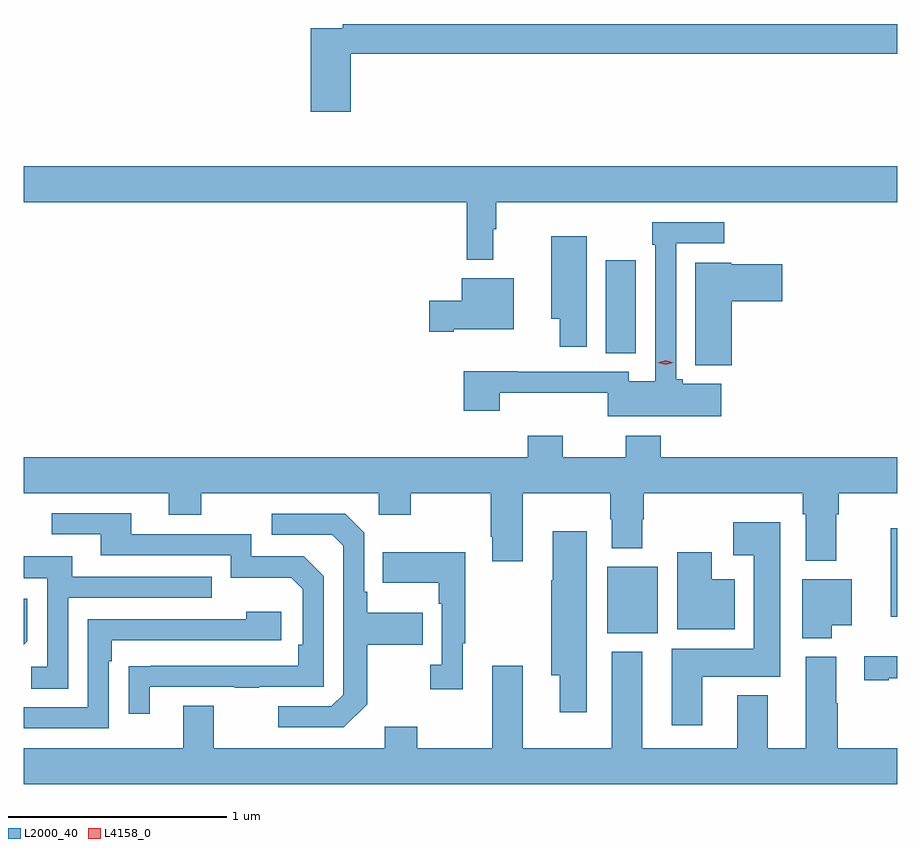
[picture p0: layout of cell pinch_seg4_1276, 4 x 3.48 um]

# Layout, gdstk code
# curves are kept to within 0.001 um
import gdstk
lib = gdstk.Library(unit=1e-6, precision=1e-09)
def R(c, l, rs):  # rectangles x0, y0, x1, y1
    for r in rs: c.add(gdstk.rectangle(r[:2], r[2:], *l))
def P(c, l, *ps):  # polygons
    for p in ps: c.add(gdstk.Polygon(p, *l))
L2000_40 = (2000, 40)
L4158_0 = (4158, 0)

pinch_seg4_1276 = lib.new_cell('pinch_seg4_1276')
R(pinch_seg4_1276, L2000_40, [(282.572,760.214,282.805,760.519), (283.871,760.29,283.901,760.696), (282.566,761.497,282.703,761.923)])
P(pinch_seg4_1276, L2000_40, [(281.399,762.868),(283.901,762.868),(283.901,763.004),(281.362,763.004),(281.362,762.984),(281.216,762.984),(281.216,762.603),(281.399,762.603)],
  [(279.901,762.188),(281.929,762.188),(281.929,761.925),(282.05,761.925),(282.05,762.065),(282.065,762.065),(282.065,762.188),(283.901,762.188),(283.901,762.352),(279.901,762.352)],
  [(283.096,761.356),(282.918,761.356),(282.918,761.378),(282.888,761.378),(282.888,762),(283.108,762),(283.108,762.096),(282.78,762.096),(282.78,761.993),(282.792,761.993),(282.792,761.368),(282.672,761.368),(282.672,761.412),(282.163,761.412),(282.163,761.414),(281.915,761.414),(281.915,761.232),(282.08,761.232),(282.08,761.315),(282.576,761.315),(282.576,761.207),(283.096,761.207)],
  [(282.478,762.031),(282.317,762.031),(282.317,761.654),(282.356,761.654),(282.356,761.526),(282.478,761.526)],
  [(283.144,761.735),(283.375,761.735),(283.375,761.905),(283.14,761.905),(283.14,761.911),(282.977,761.911),(282.977,761.441),(283.144,761.441)],
  [(281.869,761.606),(282.145,761.606),(282.145,761.839),(281.906,761.839),(281.906,761.736),(281.757,761.736),(281.757,761.594),(281.869,761.594)],
  [(282.187,760.856),(282.586,760.856),(282.586,760.736),(282.593,760.736),(282.593,760.604),(282.733,760.604),(282.733,760.736),(282.741,760.736),(282.741,760.856),(283.469,760.856),(283.469,760.76),(283.481,760.76),(283.481,760.547),(283.621,760.547),(283.621,760.76),(283.634,760.76),(283.634,760.856),(283.901,760.856),(283.901,761.02),(282.818,761.02),(282.818,761.119),(282.658,761.119),(282.658,761.02),(282.369,761.02),(282.369,761.119),(282.209,761.119),(282.209,761.02),(279.901,761.02),(279.901,760.856),(280.565,760.856),(280.565,760.757),(280.713,760.757),(280.713,760.856),(281.526,760.856),(281.526,760.757),(281.673,760.757),(281.673,760.856),(282.04,760.856),(282.04,760.657),(282.047,760.657),(282.047,760.545),(282.187,760.545)],
  [(280.477,759.969),(280.867,759.969),(280.867,759.964),(280.979,759.964),(280.979,759.969),(281.274,759.969),(281.274,760.476),(281.184,760.566),(280.944,760.566),(280.944,760.668),(280.393,760.668),(280.393,760.764),(280.029,760.764),(280.029,760.668),(280.253,760.668),(280.253,760.572),(280.848,760.572),(280.848,760.469),(281.125,760.469),(281.178,760.416),(281.178,760.162),(281.158,760.162),(281.158,760.065),(280.381,760.064),(280.381,759.846),(280.477,759.846)],
  [(281.473,759.889),(281.473,760.162),(281.729,760.162),(281.729,760.309),(281.473,760.309),(281.473,760.405),(281.46,760.405),(281.46,760.674),(281.373,760.761),(281.037,760.761),(281.037,760.665),(281.313,760.665),(281.364,760.614),(281.364,759.933),(281.31,759.879),(281.067,759.879),(281.067,759.783),(281.367,759.783)],
  [(283.009,760.016),(283.366,760.016),(283.366,760.723),(283.149,760.723),(283.149,760.571),(283.244,760.571),(283.244,760.144),(282.869,760.144),(282.869,759.792),(283.009,759.792)],
  [(282.478,760.681),(282.323,760.681),(282.323,760.457),(282.316,760.457),(282.316,760.022),(282.356,760.022),(282.356,759.852),(282.478,759.852)],
  [(283.156,760.462),(283.051,760.462),(283.051,760.585),(282.893,760.585),(282.893,760.232),(283.156,760.232)],
  [(281.911,760.169),(281.923,760.169),(281.923,760.585),(281.545,760.585),(281.545,760.445),(281.802,760.445),(281.802,760.349),(281.814,760.349),(281.814,760.07),(281.763,760.07),(281.763,759.957),(281.911,759.957)],
  [(280.104,760.377),(280.763,760.377),(280.763,760.473),(280.123,760.473),(280.123,760.567),(279.901,760.567),(279.901,760.467),(280.008,760.467),(280.008,760.062),(279.936,760.062),(279.936,759.961),(280.104,759.961)],
  [(283.601,760.25),(283.693,760.25),(283.693,760.462),(283.466,760.462),(283.466,760.192),(283.601,760.192)],
  [(279.918,760.178),(279.918,760.372),(279.901,760.372),(279.901,760.161)],
  [(280.29,760.085),(280.303,760.085),(280.303,760.182),(281.08,760.182),(281.08,760.312),(280.919,760.312),(280.919,760.278),(280.194,760.278),(280.194,759.876),(279.901,759.876),(279.901,759.78),(280.29,759.78)],
  [(283.901,759.688),(283.629,759.688),(283.629,759.893),(283.621,759.893),(283.621,760.107),(283.481,760.107),(283.481,759.688),(283.309,759.688),(283.309,759.931),(283.169,759.931),(283.169,759.688),(282.733,759.688),(282.733,760.129),(282.593,760.129),(282.593,759.688),(282.187,759.688),(282.187,760.066),(282.047,760.066),(282.047,759.688),(281.703,759.688),(281.703,759.787),(281.555,759.787),(281.555,759.688),(280.771,759.688),(280.771,759.883),(280.631,759.883),(280.631,759.688),(279.901,759.688),(279.901,759.524),(283.901,759.524)],
  [(283.861,760.009),(283.901,760.009),(283.901,760.109),(283.749,760.109),(283.749,759.999),(283.861,759.999)])
P(pinch_seg4_1276, L4158_0, [(282.84,761.444),(282.804,761.453),(282.804,761.454),(282.804,761.454),(282.84,761.464),(282.875,761.454),(282.875,761.454),(282.875,761.453)])

lib.write_gds('pinch_seg4_1276.gds')
